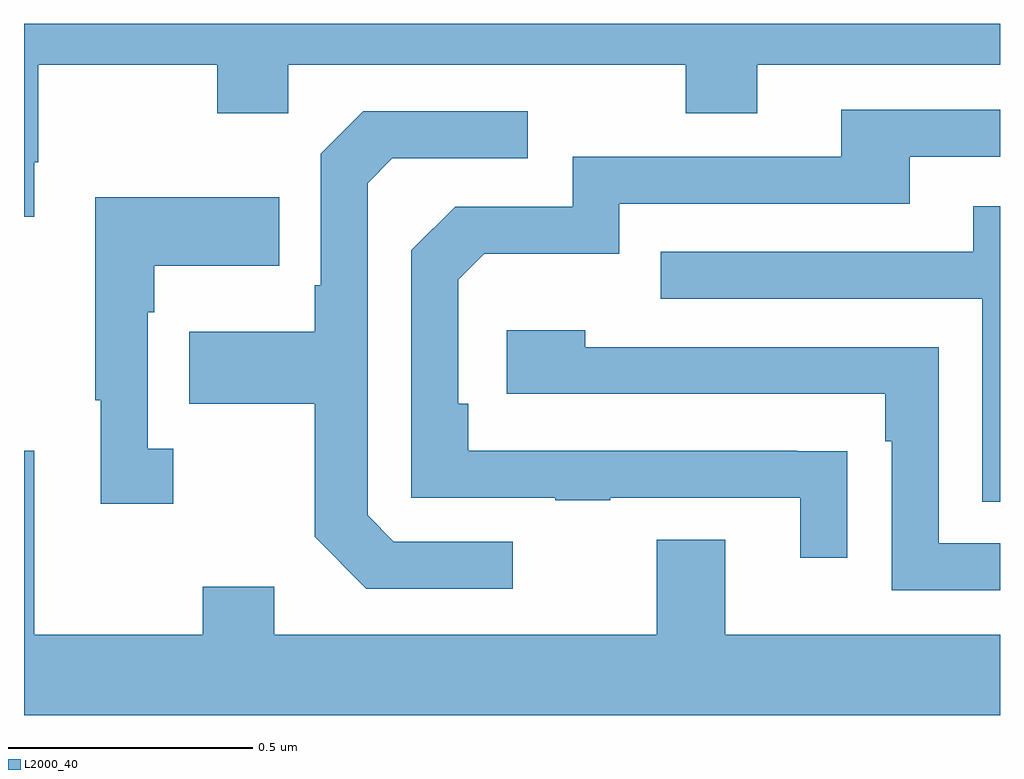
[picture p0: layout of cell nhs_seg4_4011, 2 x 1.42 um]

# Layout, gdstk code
import gdstk
lib = gdstk.Library(unit=1e-6, precision=1e-09)
def P(c, l, *ps):  # polygons
    for p in ps: c.add(gdstk.Polygon(p, *l))
L2000_40 = (2000, 40)

nhs_seg4_4011 = lib.new_cell('nhs_seg4_4011')
P(nhs_seg4_4011, L2000_40, [(160.021,800.617),(160.029,800.617),(160.029,800.816),(160.396,800.816),(160.396,800.717),(160.542,800.717),(160.542,800.816),(161.356,800.816),(161.356,800.717),(161.503,800.717),(161.503,800.816),(162,800.816),(162,800.9),(160,800.9),(160,800.505),(160.021,800.505)],
  [(161.687,800.024),(161.585,800.024),(161.585,800.025),(160.91,800.025),(160.91,800.122),(160.89,800.122),(160.89,800.376),(160.943,800.429),(161.22,800.429),(161.22,800.532),(161.815,800.532),(161.815,800.628),(162,800.628),(162,800.724),(161.675,800.724),(161.675,800.628),(161.124,800.628),(161.124,800.526),(160.884,800.526),(160.794,800.436),(160.794,799.929),(161.089,799.929),(161.089,799.924),(161.201,799.924),(161.201,799.929),(161.591,799.929),(161.591,799.806),(161.687,799.806)],
  [(161.002,799.839),(160.758,799.839),(160.704,799.893),(160.704,800.574),(160.755,800.625),(161.032,800.625),(161.032,800.721),(160.695,800.721),(160.608,800.634),(160.608,800.365),(160.596,800.365),(160.596,800.269),(160.339,800.269),(160.339,800.122),(160.596,800.122),(160.596,799.849),(160.701,799.743),(161.002,799.743)],
  [(160.306,800.03),(160.254,800.03),(160.254,800.309),(160.267,800.309),(160.267,800.405),(160.523,800.405),(160.523,800.545),(160.146,800.545),(160.146,800.129),(160.157,800.129),(160.157,799.917),(160.306,799.917)],
  [(162,800.527),(161.945,800.527),(161.945,800.433),(161.305,800.433),(161.305,800.337),(161.964,800.337),(161.964,799.921),(162,799.921)],
  [(162,799.836),(161.874,799.836),(161.874,800.238),(161.15,800.238),(161.15,800.272),(160.989,800.272),(160.989,800.142),(161.765,800.142),(161.765,800.045),(161.778,800.045),(161.778,799.74),(162,799.74)],
  [(162,799.648),(161.437,799.648),(161.437,799.843),(161.297,799.843),(161.297,799.648),(160.513,799.648),(160.513,799.747),(160.366,799.747),(160.366,799.648),(160.021,799.648),(160.021,800.026),(160,800.026),(160,799.484),(162,799.484)])

lib.write_gds('nhs_seg4_4011.gds')
